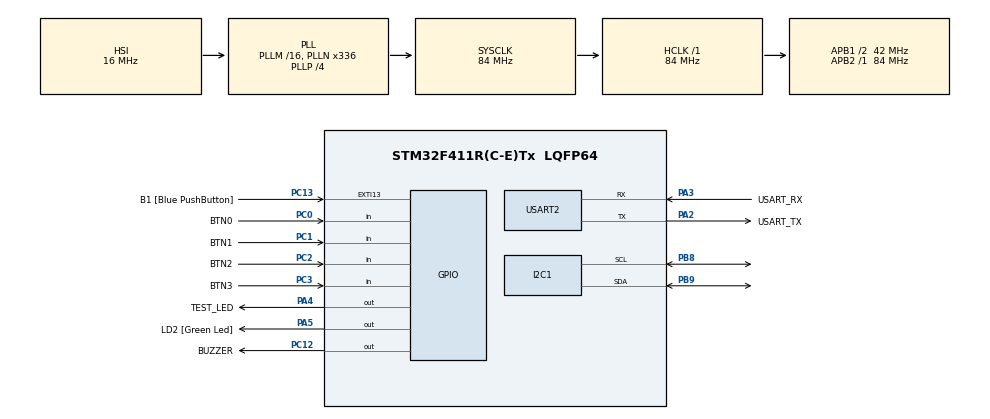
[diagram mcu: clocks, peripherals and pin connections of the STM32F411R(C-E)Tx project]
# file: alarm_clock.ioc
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Mcu.Family=STM32F4
Mcu.Name=STM32F411R(C-E)Tx
Mcu.Package=LQFP64
NVIC.PriorityGroup=NVIC_PRIORITYGROUP_0
NVIC.TIM3_IRQn=true\:0\:0\:false\:false\:true\:true\:true\:true
PA13.GPIO_Label=TMS
PA13.Mode=Serial_Wire
PA13.Signal=SYS_JTMS-SWDIO
PA14.GPIO_Label=TCK
PA14.Mode=Serial_Wire
PA14.Signal=SYS_JTCK-SWCLK
PA2.GPIO_Label=USART_TX
PA2.Mode=Asynchronous
PA2.Signal=USART2_TX
PA3.GPIO_Label=USART_RX
PA3.Mode=Asynchronous
PA3.Signal=USART2_RX
PA4.GPIO_Label=TEST_LED
PA4.Signal=GPIO_Output
PA5.GPIO_Label=LD2 [Green Led]
PA5.Signal=GPIO_Output
PB3.GPIO_Label=SWO
PB3.Signal=SYS_JTDO-SWO
PB8.Mode=I2C
PB8.Signal=I2C1_SCL
PB9.Mode=I2C
PB9.Signal=I2C1_SDA
PC0.GPIO_Label=BTN0
PC0.Signal=GPIO_Input
PC1.GPIO_Label=BTN1
PC1.Signal=GPIO_Input
PC12.GPIO_Label=BUZZER
PC12.Signal=GPIO_Output
PC13-ANTI_TAMP.GPIO_Label=B1 [Blue PushButton]
PC13-ANTI_TAMP.GPIO_ModeDefaultEXTI=GPIO_MODE_IT_FALLING
PC13-ANTI_TAMP.Signal=GPXTI13
PC14-OSC32_IN.Signal=RCC_OSC32_IN
PC15-OSC32_OUT.Signal=RCC_OSC32_OUT
PC2.GPIO_Label=BTN2
PC2.Signal=GPIO_Input
PC3.GPIO_Label=BTN3
PC3.Signal=GPIO_Input
PH0\ -\ OSC_IN.Signal=RCC_OSC_IN
PH1\ -\ OSC_OUT.Signal=RCC_OSC_OUT
ProjectManager.HeapSize=0x200
ProjectManager.StackSize=0x400
ProjectManager.TargetToolchain=STM32CubeIDE
RCC.48MHZClocksFreq_Value=84000000
RCC.AHBFreq_Value=84000000
RCC.APB1CLKDivider=RCC_HCLK_DIV2
RCC.APB1Freq_Value=42000000
RCC.APB1TimFreq_Value=84000000
RCC.APB2Freq_Value=84000000
RCC.APB2TimFreq_Value=84000000
RCC.CortexFreq_Value=84000000
RCC.FLatency-AdvancedSettings=FLASH_LATENCY_2
RCC.HCLKFreq_Value=84000000
RCC.HSE_VALUE=8000000
RCC.HSI_VALUE=16000000
RCC.LSE_VALUE=32768
RCC.PLLN=336
RCC.PLLP=RCC_PLLP_DIV4
RCC.SYSCLKFreq_VALUE=84000000
RCC.SYSCLKSource=RCC_SYSCLKSOURCE_PLLCLK
RCC.VCOOutputFreq_Value=336000000
TIM3.AutoReloadPreload=TIM_AUTORELOAD_PRELOAD_ENABLE
TIM3.Period=1000-1
TIM3.Prescaler=8400-1
USART2.VirtualMode=VM_ASYNC
VP_TIM3_VS_ClockSourceINT.Mode=Internal
board=NUCLEO-F411RE

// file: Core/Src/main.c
/* USER CODE BEGIN Header */
/**
  ******************************************************************************
  * @file           : main.c
  * @brief          : Main program body
  ******************************************************************************
  * @attention
  *
  * Copyright (c) 2025 STMicroelectronics.
  * All rights reserved.
  *
  * This software is licensed under terms that can be found in the LICENSE file
  * in the root directory of this software component.
  * If no LICENSE file comes with this software, it is provided AS-IS.
  *
  ******************************************************************************
  */
/* USER CODE END Header */
#include "main.h"

/* USER CODE BEGIN Includes */
#include <stdio.h>
#include <string.h>
#include "clcd.h"
/* USER CODE END Includes */

/* USER CODE BEGIN PD */
#ifdef __GNUC__
/* With GCC, small printf (option LD Linker->Libraries->Small printf
   set to 'Yes') calls __io_putchar() */
#define PUTCHAR_PROTOTYPE int __io_putchar(int ch)
#else
#define PUTCHAR_PROTOTYPE int fputc(int ch, FILE *f)
#endif /* __GNUC__ */
#define ARR_CNT 5
#define CMD_SIZE 50
/* USER CODE END PD */

I2C_HandleTypeDef hi2c1;

TIM_HandleTypeDef htim3;

UART_HandleTypeDef huart2;

/* USER CODE BEGIN PV */
volatile unsigned int time3Cnt = 0;
volatile int time3CntFlag = 1;
volatile unsigned int time3SecCnt = 0;
volatile int time3SecFlag = 0;
volatile int alarmOn = 0;

//volatile int timerIsrFlag = 0;    //아마 1초? time3SecFlag 로 대신해도?
//unsigned int secCount = 0;
//volatile int updatTimeFlag = 0;

typedef struct {
  int hour;
  int min;
  int sec;
  int msec;
  char apm[3]; //'A' : AM, 'P' : PM
} ATIME;
ATIME Time = { 12, 0, 0, 0, "AM"};
ATIME ARTime = { 12, 0, 0, 0, "AM"};
char buff[30];
int alarmCnt = 0;

/* USER CODE END PV */

void SystemClock_Config(void);
static void MX_GPIO_Init(void);
static void MX_USART2_UART_Init(void);
static void MX_TIM3_Init(void);
static void MX_I2C1_Init(void);
/* USER CODE BEGIN PFP */
int getKeyNum();

void clock_display();
void clock_calc(ATIME *Time);
void clock_set();
void alarm_buzzer();
/* USER CODE END PFP */

int main(void)
{

  /* USER CODE BEGIN 1 */
	int cnt = 0;
	int keyNum = 0;
	int mode = 0;
	ATIME *targetTime;

  /* USER CODE END 1 */

  /* MCU Configuration--------------------------------------------------------*/

  /* Reset of all peripherals, Initializes the Flash interface and the Systick. */
  HAL_Init();

  /* Configure the system clock */
  SystemClock_Config();

  /* Initialize all configured peripherals */
  MX_GPIO_Init();
  MX_USART2_UART_Init();
  MX_TIM3_Init();
  MX_I2C1_Init();
  /* USER CODE BEGIN 2 */
  printf("main start()!!\r\n");

  if(HAL_TIM_Base_Start_IT(&htim3) != HAL_OK)
	  Error_Handler();
  LCD_init(&hi2c1);
//  LCD_writeStringXY(0, 0, "hello lcd");

  /* USER CODE END 2 */

  /* Infinite loop */
  /* USER CODE BEGIN WHILE */
  while (1)
  {
	  if(time3SecFlag)
	  {
		  HAL_GPIO_TogglePin(LD2_GPIO_Port, LD2_Pin);
		  printf("time3SecCnt : %d \r\n", time3SecCnt);
		  clock_display();

		  if(alarmOn)
		  {
		        alarm_buzzer();  // 토글
		        alarmCnt++;
		        if (alarmCnt >= 60)
		        {
		            alarmOn = 0;
		            alarmCnt = 0;
		            HAL_GPIO_WritePin(BUZZER_GPIO_Port , BUZZER_Pin, GPIO_PIN_RESET);  // 끄기
		        }
		  }
		  if (!alarmOn && memcmp(&Time, &ARTime, sizeof(ATIME)) == 0)
		  {
		      alarmOn = 1;
		      alarmCnt = 0;
		  }

		  clock_calc(&Time);
		  time3SecFlag = 0;
	  }

#if 0
	  if (!alarmOn && memcmp(&Time, &ARTime, sizeof(ATIME)) == 0)
	  {
		  alarmOn = 1;
		  alarmCnt = 0;

		  alarm_buzzer();
	  }

	  if(alarmCnt > 60)
	  {
		  alarmCnt = 0;
		  HAL_GPIO_WritePin(BUZZER_GPIO_Port , BUZZER_Pin, GPIO_PIN_RESET);
	  }
#endif

	  if(mode == 0)
		  targetTime = 0;
	  if(mode == 1)
		  targetTime = &ARTime;
	  if(mode == 2)
		  targetTime = &Time;

	  keyNum = getKeyNum();
	  if(keyNum != 0)
	  {
		  //printf("keyNum : %d \r\n", keyNum);
		  if (keyNum == 1)  //시간 설정
		  {
			  targetTime->hour++;
			  if(targetTime->hour > 12)
			  {
				  targetTime->hour = 1;
			  }
			  if(targetTime->hour == 12 && targetTime->min == 0 && targetTime->sec == 0)
			  {
		          if (strcmp(targetTime->apm, "AM") == 0)
		              strcpy(targetTime->apm, "PM");
		          else
		              strcpy(targetTime->apm, "AM");
			  }
		  }
		  if (keyNum == 2)  //분 설정
		  {
			  //printf("keyNum : %d \r\n", keyNum);
			  targetTime->min++;
			  if(targetTime->min >= 60)
			  {
				  targetTime->min = 0;
				  targetTime->hour++;
				  if(targetTime->hour > 12)
				  {
					  targetTime->hour = 1;
				  }
				  if(targetTime->hour == 12 && targetTime->min == 0 && targetTime->sec == 0)
				  {
			          if (strcmp(targetTime->apm, "AM") == 0)
			              strcpy(targetTime->apm, "PM");
			          else
			              strcpy(targetTime->apm, "AM");
				  }
			  }
		  }
		  if (keyNum == 3)  //초 설정
		  {
			  targetTime->sec++;
			  if(targetTime->sec >= 60)
			  {
				  targetTime->sec = 0;
				  targetTime->min++;
				  if(targetTime->min >= 60)
				  {
					  targetTime->min = 0;
					  targetTime->hour++;
					  if(targetTime->hour > 12)
					  {
						  targetTime->hour = 1;
					  }
					  if(targetTime->hour == 12 && targetTime->min == 0 && targetTime->sec == 0)
					  {
				          if (strcmp(targetTime->apm, "AM") == 0)
				              strcpy(targetTime->apm, "PM");
				          else
				              strcpy(targetTime->apm, "AM");
					  }
				  }
			  }
		  }
		  if (keyNum == 4)  //시간/알람 설정 mode
		  {
			  printf("keyNum : %d , cnt : %d \r\n", keyNum, ++cnt);
			  if(cnt % 3 == 1)
			  {
				  LCD_writeStringXY(0, 14, " ");
				  LCD_writeStringXY(1, 14, "*");
				  targetTime = &ARTime;
				  mode = 1;
				  alarmOn = 0;
			  }
			  if(cnt % 3 == 2)
			  {
				  LCD_writeStringXY(0, 14, "*");
				  LCD_writeStringXY(1, 14, " ");
				  targetTime = &Time;
				  mode = 2;
				  alarmOn = 0;
			  }
			  if(cnt % 3 == 0)
			  {
				  LCD_writeStringXY(0, 14, " ");
				  LCD_writeStringXY(1, 14, " ");
				  mode = 0;

			  }
		  }
	  }

    /* USER CODE END WHILE */

  }
}

void SystemClock_Config(void)
{
  RCC_OscInitTypeDef RCC_OscInitStruct = {0};
  RCC_ClkInitTypeDef RCC_ClkInitStruct = {0};

  /** Configure the main internal regulator output voltage
  */
  __HAL_RCC_PWR_CLK_ENABLE();
  __HAL_PWR_VOLTAGESCALING_CONFIG(PWR_REGULATOR_VOLTAGE_SCALE1);

  /** Initializes the RCC Oscillators according to the specified parameters
  * in the RCC_OscInitTypeDef structure.
  */
  RCC_OscInitStruct.OscillatorType = RCC_OSCILLATORTYPE_HSI;
  RCC_OscInitStruct.HSIState = RCC_HSI_ON;
  RCC_OscInitStruct.HSICalibrationValue = RCC_HSICALIBRATION_DEFAULT;
  RCC_OscInitStruct.PLL.PLLState = RCC_PLL_ON;
  RCC_OscInitStruct.PLL.PLLSource = RCC_PLLSOURCE_HSI;
  RCC_OscInitStruct.PLL.PLLM = 16;
  RCC_OscInitStruct.PLL.PLLN = 336;
  RCC_OscInitStruct.PLL.PLLP = RCC_PLLP_DIV4;
  RCC_OscInitStruct.PLL.PLLQ = 4;
  if (HAL_RCC_OscConfig(&RCC_OscInitStruct) != HAL_OK)
  {
    Error_Handler();
  }

  /** Initializes the CPU, AHB and APB buses clocks
  */
  RCC_ClkInitStruct.ClockType = RCC_CLOCKTYPE_HCLK|RCC_CLOCKTYPE_SYSCLK
                              |RCC_CLOCKTYPE_PCLK1|RCC_CLOCKTYPE_PCLK2;
  RCC_ClkInitStruct.SYSCLKSource = RCC_SYSCLKSOURCE_PLLCLK;
  RCC_ClkInitStruct.AHBCLKDivider = RCC_SYSCLK_DIV1;
  RCC_ClkInitStruct.APB1CLKDivider = RCC_HCLK_DIV2;
  RCC_ClkInitStruct.APB2CLKDivider = RCC_HCLK_DIV1;

  if (HAL_RCC_ClockConfig(&RCC_ClkInitStruct, FLASH_LATENCY_2) != HAL_OK)
  {
    Error_Handler();
  }
}

static void MX_I2C1_Init(void)
{

  hi2c1.Instance = I2C1;
  hi2c1.Init.ClockSpeed = 100000;
  hi2c1.Init.DutyCycle = I2C_DUTYCYCLE_2;
  hi2c1.Init.OwnAddress1 = 0;
  hi2c1.Init.AddressingMode = I2C_ADDRESSINGMODE_7BIT;
  hi2c1.Init.DualAddressMode = I2C_DUALADDRESS_DISABLE;
  hi2c1.Init.OwnAddress2 = 0;
  hi2c1.Init.GeneralCallMode = I2C_GENERALCALL_DISABLE;
  hi2c1.Init.NoStretchMode = I2C_NOSTRETCH_DISABLE;
  if (HAL_I2C_Init(&hi2c1) != HAL_OK)
  {
    Error_Handler();
  }

}

static void MX_TIM3_Init(void)
{

  TIM_ClockConfigTypeDef sClockSourceConfig = {0};
  TIM_MasterConfigTypeDef sMasterConfig = {0};

  htim3.Instance = TIM3;
  htim3.Init.Prescaler = 8400-1;
  htim3.Init.CounterMode = TIM_COUNTERMODE_UP;
  htim3.Init.Period = 1000-1;
  htim3.Init.ClockDivision = TIM_CLOCKDIVISION_DIV1;
  htim3.Init.AutoReloadPreload = TIM_AUTORELOAD_PRELOAD_ENABLE;
  if (HAL_TIM_Base_Init(&htim3) != HAL_OK)
  {
    Error_Handler();
  }
  sClockSourceConfig.ClockSource = TIM_CLOCKSOURCE_INTERNAL;
  if (HAL_TIM_ConfigClockSource(&htim3, &sClockSourceConfig) != HAL_OK)
  {
    Error_Handler();
  }
  sMasterConfig.MasterOutputTrigger = TIM_TRGO_RESET;
  sMasterConfig.MasterSlaveMode = TIM_MASTERSLAVEMODE_DISABLE;
  if (HAL_TIMEx_MasterConfigSynchronization(&htim3, &sMasterConfig) != HAL_OK)
  {
    Error_Handler();
  }

}

static void MX_USART2_UART_Init(void)
{

  huart2.Instance = USART2;
  huart2.Init.BaudRate = 115200;
  huart2.Init.WordLength = UART_WORDLENGTH_8B;
  huart2.Init.StopBits = UART_STOPBITS_1;
  huart2.Init.Parity = UART_PARITY_NONE;
  huart2.Init.Mode = UART_MODE_TX_RX;
  huart2.Init.HwFlowCtl = UART_HWCONTROL_NONE;
  huart2.Init.OverSampling = UART_OVERSAMPLING_16;
  if (HAL_UART_Init(&huart2) != HAL_OK)
  {
    Error_Handler();
  }

}

static void MX_GPIO_Init(void)
{
  GPIO_InitTypeDef GPIO_InitStruct = {0};

  /* GPIO Ports Clock Enable */
  __HAL_RCC_GPIOC_CLK_ENABLE();
  __HAL_RCC_GPIOH_CLK_ENABLE();
  __HAL_RCC_GPIOA_CLK_ENABLE();
  __HAL_RCC_GPIOB_CLK_ENABLE();

  /*Configure GPIO pin Output Level */
  HAL_GPIO_WritePin(GPIOA, TEST_LED_Pin|LD2_Pin, GPIO_PIN_RESET);

  /*Configure GPIO pin Output Level */
  HAL_GPIO_WritePin(BUZZER_GPIO_Port, BUZZER_Pin, GPIO_PIN_RESET);

  /*Configure GPIO pin : B1_Pin */
  GPIO_InitStruct.Pin = B1_Pin;
  GPIO_InitStruct.Mode = GPIO_MODE_IT_FALLING;
  GPIO_InitStruct.Pull = GPIO_NOPULL;
  HAL_GPIO_Init(B1_GPIO_Port, &GPIO_InitStruct);

  /*Configure GPIO pins : BTN0_Pin BTN1_Pin BTN2_Pin BTN3_Pin */
  GPIO_InitStruct.Pin = BTN0_Pin|BTN1_Pin|BTN2_Pin|BTN3_Pin;
  GPIO_InitStruct.Mode = GPIO_MODE_INPUT;
  GPIO_InitStruct.Pull = GPIO_NOPULL;
  HAL_GPIO_Init(GPIOC, &GPIO_InitStruct);

  /*Configure GPIO pins : TEST_LED_Pin LD2_Pin */
  GPIO_InitStruct.Pin = TEST_LED_Pin|LD2_Pin;
  GPIO_InitStruct.Mode = GPIO_MODE_OUTPUT_PP;
  GPIO_InitStruct.Pull = GPIO_NOPULL;
  GPIO_InitStruct.Speed = GPIO_SPEED_FREQ_LOW;
  HAL_GPIO_Init(GPIOA, &GPIO_InitStruct);

  /*Configure GPIO pin : BUZZER_Pin */
  GPIO_InitStruct.Pin = BUZZER_Pin;
  GPIO_InitStruct.Mode = GPIO_MODE_OUTPUT_PP;
  GPIO_InitStruct.Pull = GPIO_NOPULL;
  GPIO_InitStruct.Speed = GPIO_SPEED_FREQ_LOW;
  HAL_GPIO_Init(BUZZER_GPIO_Port, &GPIO_InitStruct);

}

/* USER CODE BEGIN 4 */
/**
  * @brief  Retargets the C library printf function to the USART.
  * @param  None
  * @retval None
  */
PUTCHAR_PROTOTYPE
{
  /* Place your implementation of fputc here */
  /* e.g. write a character to the USART6 and Loop until the end of transmission */
  HAL_UART_Transmit(&huart2, (uint8_t *)&ch, 1, 0xFFFF);

  return ch;
}

void HAL_TIM_PeriodElapsedCallback(TIM_HandleTypeDef * htim)
{
	//static unsigned long time3Cnt = 0;
	time3Cnt++;			  //100ms
	time3CntFlag = 1;
	if(time3Cnt >= 10)  //100ms * 10 = 1sec
	{
		time3SecFlag = 1;
		time3SecCnt++;
		time3Cnt = 0;		//100ms
	}
}

int getKeyNum()
{
	int keyNum = 0;
	int buttonState = 0;
	static int keyNumOld = 0;
	for (int i=0; i<4; i++)
	{
		  buttonState = HAL_GPIO_ReadPin(BTN0_GPIO_Port, BTN0_Pin<<i);
		  if(buttonState)
		  {
			  keyNum = i+1;
			  if(keyNum != keyNumOld)
			  {
				  keyNumOld = keyNum;
				  return keyNum;
			  }
			  else
				  return 0;
		  }
	}
	keyNumOld = 0;
	return keyNum;
}

/*
 void timerIsr() {
  timerIsrFlag = 1;
  secCount++;
  clock_calc(&Time);
}
*/

void clock_display()	//시계/알람 LCD 출력 함수
{
#if 1
//	  LCD_writeStringXY(0, 0, "hello lcd");

//	  dht11Data = DHT11_readData();
	  sprintf(buff,"T %02d:%02d:%02d %s ", Time.hour, Time.min, Time.sec, Time.apm);
	  printf("%s\r\n", buff);
	  LCD_writeStringXY(0, 0, buff);

	  sprintf(buff,"A %02d:%02d:%02d %s ", ARTime.hour, ARTime.min, ARTime.sec, ARTime.apm);
	  printf("%s\r\n", buff);
	  LCD_writeStringXY(1, 0, buff);
	  //HAL_Delay(2000);
#endif
}

void clock_calc(ATIME *Time)	//시간 계산 함수
{
  Time->sec++;  // increment second

  if (Time->sec >= 60)  // if second = 60, second = 0
  {
    Time->sec = 0;
    Time->min++;

    if (Time->min >= 60)  // if minute = 60, minute = 0
    {
      Time->min = 0;
      Time->hour++;  // increment hour

      if (Time->hour > 12)
      {
        Time->hour = 1;
      }

      if(Time->hour == 12 && Time->min == 0 && Time->sec ==0)
      {
          if (strcmp(Time->apm, "AM") == 0)
              strcpy(Time->apm, "PM");
          else
              strcpy(Time->apm, "AM");
      }
    }
  }
}

void clock_set()	//시간/알람 설정 함수
{

}
void alarm_buzzer() //LED 부저 출력
{
	HAL_GPIO_TogglePin(BUZZER_GPIO_Port, BUZZER_Pin);
}

/* USER CODE END 4 */

void Error_Handler(void)
{
  __disable_irq();
  while (1)
  {
  }
}
